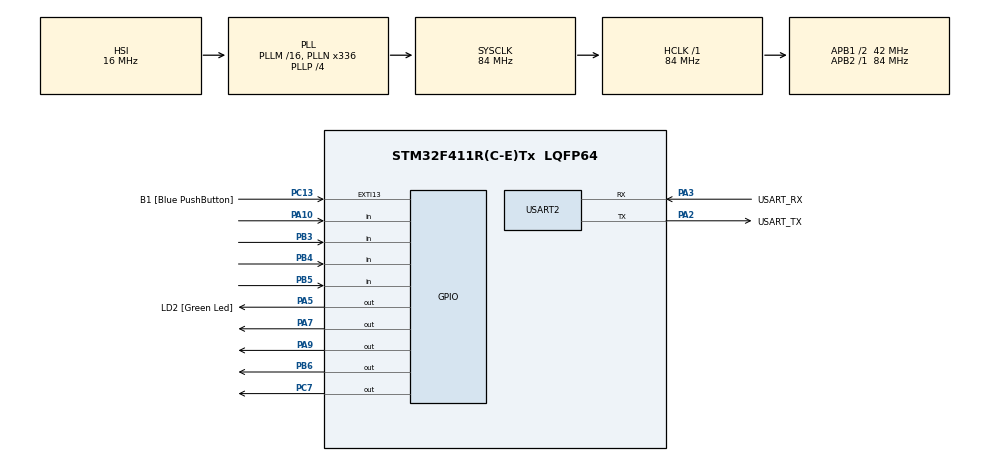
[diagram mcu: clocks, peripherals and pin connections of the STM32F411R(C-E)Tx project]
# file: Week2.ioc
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Mcu.Family=STM32F4
Mcu.Name=STM32F411R(C-E)Tx
Mcu.Package=LQFP64
NVIC.PriorityGroup=NVIC_PRIORITYGROUP_0
PA10.GPIO_PuPd=GPIO_PULLUP
PA10.Signal=GPIO_Input
PA13.GPIO_Label=TMS
PA13.Mode=Serial_Wire
PA13.Signal=SYS_JTMS-SWDIO
PA14.GPIO_Label=TCK
PA14.Mode=Serial_Wire
PA14.Signal=SYS_JTCK-SWCLK
PA2.GPIO_Label=USART_TX
PA2.Mode=Asynchronous
PA2.Signal=USART2_TX
PA3.GPIO_Label=USART_RX
PA3.Mode=Asynchronous
PA3.Signal=USART2_RX
PA5.GPIO_Label=LD2 [Green Led]
PA5.GPIO_ModeDefaultOutputPP=GPIO_MODE_OUTPUT_PP
PA5.PinState=GPIO_PIN_RESET
PA5.Signal=GPIO_Output
PA7.GPIO_ModeDefaultOutputPP=GPIO_MODE_OUTPUT_OD
PA7.PinState=GPIO_PIN_SET
PA7.Signal=GPIO_Output
PA9.GPIO_ModeDefaultOutputPP=GPIO_MODE_OUTPUT_OD
PA9.PinState=GPIO_PIN_SET
PA9.Signal=GPIO_Output
PB3.GPIO_PuPd=GPIO_PULLUP
PB3.Signal=GPIO_Input
PB4.GPIO_PuPd=GPIO_PULLUP
PB4.Signal=GPIO_Input
PB5.GPIO_PuPd=GPIO_PULLUP
PB5.Signal=GPIO_Input
PB6.GPIO_ModeDefaultOutputPP=GPIO_MODE_OUTPUT_OD
PB6.PinState=GPIO_PIN_SET
PB6.Signal=GPIO_Output
PC13-ANTI_TAMP.GPIO_Label=B1 [Blue PushButton]
PC13-ANTI_TAMP.GPIO_ModeDefaultEXTI=GPIO_MODE_IT_FALLING
PC13-ANTI_TAMP.Signal=GPXTI13
PC14-OSC32_IN.Mode=LSE-External-Oscillator
PC14-OSC32_IN.Signal=RCC_OSC32_IN
PC15-OSC32_OUT.Mode=LSE-External-Oscillator
PC15-OSC32_OUT.Signal=RCC_OSC32_OUT
PC7.GPIO_ModeDefaultOutputPP=GPIO_MODE_OUTPUT_OD
PC7.PinState=GPIO_PIN_SET
PC7.Signal=GPIO_Output
PH0\ -\ OSC_IN.Mode=HSE-External-Clock-Source
PH0\ -\ OSC_IN.Signal=RCC_OSC_IN
PH1\ -\ OSC_OUT.Mode=HSE-External-Clock-Source
PH1\ -\ OSC_OUT.Signal=RCC_OSC_OUT
ProjectManager.HeapSize=0x200
ProjectManager.StackSize=0x400
ProjectManager.TargetToolchain=STM32CubeIDE
RCC.48MHZClocksFreq_Value=84000000
RCC.AHBFreq_Value=84000000
RCC.APB1CLKDivider=RCC_HCLK_DIV2
RCC.APB1Freq_Value=42000000
RCC.APB1TimFreq_Value=84000000
RCC.APB2Freq_Value=84000000
RCC.APB2TimFreq_Value=84000000
RCC.CortexFreq_Value=84000000
RCC.FLatency-AdvancedSettings=FLASH_LATENCY_2
RCC.HCLKFreq_Value=84000000
RCC.HSE_VALUE=8000000
RCC.HSI_VALUE=16000000
RCC.PLLN=336
RCC.PLLP=RCC_PLLP_DIV4
RCC.SYSCLKFreq_VALUE=84000000
RCC.SYSCLKSource=RCC_SYSCLKSOURCE_PLLCLK
RCC.VCOOutputFreq_Value=336000000
USART2.VirtualMode=VM_ASYNC
board=NUCLEO-F411RE

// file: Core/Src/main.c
/* USER CODE BEGIN Header */
/**
 ******************************************************************************
 * @file           : main.c
 * @brief          : Main program body
 ******************************************************************************
 * @attention
 *
 * <h2><center>&copy; Copyright (c) 2021 STMicroelectronics.
 * All rights reserved.</center></h2>
 *
 * This software component is licensed by ST under BSD 3-Clause license,
 * the "License"; You may not use this file except in compliance with the
 * License. You may obtain a copy of the License at:
 *                        opensource.org/licenses/BSD-3-Clause
 *
 ******************************************************************************
 */
/* USER CODE END Header */
#include "main.h"

UART_HandleTypeDef huart2;

/* USER CODE BEGIN PV */
//save status of Button Matrix
uint16_t ButtonMatrixState = 0;
uint32_t num=0;
uint32_t TimeStampButton=0;
uint16_t save=0;

//Button TimeStamp
uint32_t ButtonMatrixTimestamp = 0;
/* USER CODE END PV */

void SystemClock_Config(void);
static void MX_GPIO_Init(void);
static void MX_USART2_UART_Init(void);
/* USER CODE BEGIN PFP */
//scan and update data of Button Matrix
void ButtonMatrixUpdate();
void test();
/* USER CODE END PFP */

int main(void)
{

  /* MCU Configuration--------------------------------------------------------*/

  /* Reset of all peripherals, Initializes the Flash interface and the Systick. */
  HAL_Init();

  /* Configure the system clock */
  SystemClock_Config();

  /* Initialize all configured peripherals */
  MX_GPIO_Init();
  MX_USART2_UART_Init();

  /* Infinite loop */
	while (1)
	{

    /* USER CODE BEGIN 3 */
		ButtonMatrixUpdate();

		if(HAL_GetTick()- TimeStampButton >=200)
		{
			TimeStampButton=HAL_GetTick();
			test();

		}
	}

  /* USER CODE END 3 */
}

void SystemClock_Config(void)
{
  RCC_OscInitTypeDef RCC_OscInitStruct = {0};
  RCC_ClkInitTypeDef RCC_ClkInitStruct = {0};

  /** Configure the main internal regulator output voltage
  */
  __HAL_RCC_PWR_CLK_ENABLE();
  __HAL_PWR_VOLTAGESCALING_CONFIG(PWR_REGULATOR_VOLTAGE_SCALE1);
  /** Initializes the RCC Oscillators according to the specified parameters
  * in the RCC_OscInitTypeDef structure.
  */
  RCC_OscInitStruct.OscillatorType = RCC_OSCILLATORTYPE_HSI;
  RCC_OscInitStruct.HSIState = RCC_HSI_ON;
  RCC_OscInitStruct.HSICalibrationValue = RCC_HSICALIBRATION_DEFAULT;
  RCC_OscInitStruct.PLL.PLLState = RCC_PLL_ON;
  RCC_OscInitStruct.PLL.PLLSource = RCC_PLLSOURCE_HSI;
  RCC_OscInitStruct.PLL.PLLM = 16;
  RCC_OscInitStruct.PLL.PLLN = 336;
  RCC_OscInitStruct.PLL.PLLP = RCC_PLLP_DIV4;
  RCC_OscInitStruct.PLL.PLLQ = 4;
  if (HAL_RCC_OscConfig(&RCC_OscInitStruct) != HAL_OK)
  {
    Error_Handler();
  }
  /** Initializes the CPU, AHB and APB buses clocks
  */
  RCC_ClkInitStruct.ClockType = RCC_CLOCKTYPE_HCLK|RCC_CLOCKTYPE_SYSCLK
                              |RCC_CLOCKTYPE_PCLK1|RCC_CLOCKTYPE_PCLK2;
  RCC_ClkInitStruct.SYSCLKSource = RCC_SYSCLKSOURCE_PLLCLK;
  RCC_ClkInitStruct.AHBCLKDivider = RCC_SYSCLK_DIV1;
  RCC_ClkInitStruct.APB1CLKDivider = RCC_HCLK_DIV2;
  RCC_ClkInitStruct.APB2CLKDivider = RCC_HCLK_DIV1;

  if (HAL_RCC_ClockConfig(&RCC_ClkInitStruct, FLASH_LATENCY_2) != HAL_OK)
  {
    Error_Handler();
  }
}

static void MX_USART2_UART_Init(void)
{

  huart2.Instance = USART2;
  huart2.Init.BaudRate = 115200;
  huart2.Init.WordLength = UART_WORDLENGTH_8B;
  huart2.Init.StopBits = UART_STOPBITS_1;
  huart2.Init.Parity = UART_PARITY_NONE;
  huart2.Init.Mode = UART_MODE_TX_RX;
  huart2.Init.HwFlowCtl = UART_HWCONTROL_NONE;
  huart2.Init.OverSampling = UART_OVERSAMPLING_16;
  if (HAL_UART_Init(&huart2) != HAL_OK)
  {
    Error_Handler();
  }

}

static void MX_GPIO_Init(void)
{
  GPIO_InitTypeDef GPIO_InitStruct = {0};

  /* GPIO Ports Clock Enable */
  __HAL_RCC_GPIOC_CLK_ENABLE();
  __HAL_RCC_GPIOH_CLK_ENABLE();
  __HAL_RCC_GPIOA_CLK_ENABLE();
  __HAL_RCC_GPIOB_CLK_ENABLE();

  /*Configure GPIO pin Output Level */
  HAL_GPIO_WritePin(LD2_GPIO_Port, LD2_Pin, GPIO_PIN_RESET);

  /*Configure GPIO pin Output Level */
  HAL_GPIO_WritePin(GPIOA, GPIO_PIN_7|GPIO_PIN_9, GPIO_PIN_SET);

  /*Configure GPIO pin Output Level */
  HAL_GPIO_WritePin(GPIOC, GPIO_PIN_7, GPIO_PIN_SET);

  /*Configure GPIO pin Output Level */
  HAL_GPIO_WritePin(GPIOB, GPIO_PIN_6, GPIO_PIN_SET);

  /*Configure GPIO pin : B1_Pin */
  GPIO_InitStruct.Pin = B1_Pin;
  GPIO_InitStruct.Mode = GPIO_MODE_IT_FALLING;
  GPIO_InitStruct.Pull = GPIO_NOPULL;
  HAL_GPIO_Init(B1_GPIO_Port, &GPIO_InitStruct);

  /*Configure GPIO pin : LD2_Pin */
  GPIO_InitStruct.Pin = LD2_Pin;
  GPIO_InitStruct.Mode = GPIO_MODE_OUTPUT_PP;
  GPIO_InitStruct.Pull = GPIO_NOPULL;
  GPIO_InitStruct.Speed = GPIO_SPEED_FREQ_LOW;
  HAL_GPIO_Init(LD2_GPIO_Port, &GPIO_InitStruct);

  /*Configure GPIO pins : PA7 PA9 */
  GPIO_InitStruct.Pin = GPIO_PIN_7|GPIO_PIN_9;
  GPIO_InitStruct.Mode = GPIO_MODE_OUTPUT_OD;
  GPIO_InitStruct.Pull = GPIO_NOPULL;
  GPIO_InitStruct.Speed = GPIO_SPEED_FREQ_LOW;
  HAL_GPIO_Init(GPIOA, &GPIO_InitStruct);

  /*Configure GPIO pin : PC7 */
  GPIO_InitStruct.Pin = GPIO_PIN_7;
  GPIO_InitStruct.Mode = GPIO_MODE_OUTPUT_OD;
  GPIO_InitStruct.Pull = GPIO_NOPULL;
  GPIO_InitStruct.Speed = GPIO_SPEED_FREQ_LOW;
  HAL_GPIO_Init(GPIOC, &GPIO_InitStruct);

  /*Configure GPIO pin : PA10 */
  GPIO_InitStruct.Pin = GPIO_PIN_10;
  GPIO_InitStruct.Mode = GPIO_MODE_INPUT;
  GPIO_InitStruct.Pull = GPIO_PULLUP;
  HAL_GPIO_Init(GPIOA, &GPIO_InitStruct);

  /*Configure GPIO pins : PB3 PB4 PB5 */
  GPIO_InitStruct.Pin = GPIO_PIN_3|GPIO_PIN_4|GPIO_PIN_5;
  GPIO_InitStruct.Mode = GPIO_MODE_INPUT;
  GPIO_InitStruct.Pull = GPIO_PULLUP;
  HAL_GPIO_Init(GPIOB, &GPIO_InitStruct);

  /*Configure GPIO pin : PB6 */
  GPIO_InitStruct.Pin = GPIO_PIN_6;
  GPIO_InitStruct.Mode = GPIO_MODE_OUTPUT_OD;
  GPIO_InitStruct.Pull = GPIO_NOPULL;
  GPIO_InitStruct.Speed = GPIO_SPEED_FREQ_LOW;
  HAL_GPIO_Init(GPIOB, &GPIO_InitStruct);

}

/* USER CODE BEGIN 4 */
//port/pin array , 0-3 input , 4-7 output
GPIO_TypeDef *ButtonMatrixPort[8] =
{ GPIOA, GPIOB, GPIOB, GPIOB, GPIOA, GPIOC, GPIOB, GPIOA };

uint16_t ButtonMatrixPin[8] =
{ GPIO_PIN_10, GPIO_PIN_3, GPIO_PIN_5, GPIO_PIN_4, GPIO_PIN_9, GPIO_PIN_7,
GPIO_PIN_6, GPIO_PIN_7 };

uint8_t ButtonMatrixRow = 0;  //What  R Now
void ButtonMatrixUpdate()
{
	if (HAL_GetTick() - ButtonMatrixTimestamp >= 100)
	{
		ButtonMatrixTimestamp = HAL_GetTick();
		int i;
		for (i = 0; i < 4; i += 1)
		{ //0-3
			GPIO_PinState PinState = HAL_GPIO_ReadPin(ButtonMatrixPort[i],
					ButtonMatrixPin[i]);
			if (PinState == GPIO_PIN_RESET) // Button Press
			{
				ButtonMatrixState |= (uint16_t) 1 << (i + ButtonMatrixRow * 4);
			}
			else
			{
				ButtonMatrixState &= ~((uint16_t) 1 << (i + ButtonMatrixRow * 4));
			}
		}
		uint8_t NowOutputPin = ButtonMatrixRow + 4;
		//SET Rn
		HAL_GPIO_WritePin(ButtonMatrixPort[NowOutputPin],
				ButtonMatrixPin[NowOutputPin], GPIO_PIN_SET);
		// update New Row
		ButtonMatrixRow = (ButtonMatrixRow + 1) % 4;

		uint8_t NextOutputPin = ButtonMatrixRow + 4;
		//Reset Rn+1
		HAL_GPIO_WritePin(ButtonMatrixPort[NextOutputPin],
				ButtonMatrixPin[NextOutputPin], GPIO_PIN_RESET);

	}
}
enum{ state0=0,state1,state2,state3,state4,
	state5,state6,state7,state8,state9,state10,state11,clear,ok,holdFail
};
void  test()
{
	if(ButtonMatrixState !=0 && save !=ButtonMatrixState)
	{
	switch(num)
			{
			case state0://start

				if(ButtonMatrixState==64)
				{

					num=state1;
					//printf("6");

				}
				else if (ButtonMatrixState==8)
				{
					num=state0;
				}
				else
				{
					num=holdFail;
				}
				break;
			case state1:

				if(ButtonMatrixState==512)
				{

					num=state2;
					//printf("2");

				}
				else if (ButtonMatrixState==8)
							{
								num=state0;
							}
				else
				{
					num=holdFail;
				}
				break;
			case state2:

				if(ButtonMatrixState==1024)
				{

					num=state3;

					//printf("3");
				}
				else if (ButtonMatrixState==8)
				{
					num=state0;
				}
				else
				{
					num=holdFail;
				}
				break;
			case state3:

				if(ButtonMatrixState==16)
				{
					num=state4;
					//printf("4");
				}
				else if (ButtonMatrixState==8)
				{
					num=state0;
				}
				else
				{
					num=holdFail;
				}
				break;
			case state4:

				if(ButtonMatrixState==4096)
				{
					num=state5;
				//	printf("0");
				}
				else if (ButtonMatrixState==8)
				{
					num=state0;
				}
				else
				{
					num=holdFail;
				}
				break;
			case state5:

				if(ButtonMatrixState==32)
				{
					num=state6;
					//printf("5");
				}
				else if (ButtonMatrixState==8)
				{
					num=clear;
				}
				else
				{
					num=holdFail;
				}
				break;
			case state6:

				if(ButtonMatrixState==4096)
				{
					num=state7;
					//printf("0");
				}
				else if (ButtonMatrixState==8)
				{
					num=state0;
				}
				else
				{
					num=holdFail;
				}
				break;
			case state7:

				if(ButtonMatrixState==4096)
				{
					num=state8;
					//printf("0");
				}
				else if (ButtonMatrixState==8)
							{
								num=state0;
							}
				else
				{
					num=holdFail;
				}
				break;
			case state8:

				if(ButtonMatrixState==4096)
				{
					num=state9;
					//printf("0");
				}
				else if (ButtonMatrixState==8)
							{
								num=state0;
							}
				else
				{
					num=holdFail;
				}
				break;
			case state9:

				if(ButtonMatrixState==512)
				{
					num=state10;
					//printf("2");
				}
				else if (ButtonMatrixState==8)
							{
								num=state0;
							}
				else
				{
					num=holdFail;
				}
				break;
			case state10:

				if(ButtonMatrixState==1)
				{
					num=state11;
					//printf("7");
				}
				else if (ButtonMatrixState==8)
							{
								num=state0;
							}
				else
				{
					num=holdFail;
				}
				break;
			case state11:

				if(ButtonMatrixState==32768)
				{	HAL_GPIO_WritePin(GPIOA, GPIO_PIN_5,GPIO_PIN_SET);
					num=ok;
					//printf("ok");
				}
				else
				{
					num=holdFail;
				}
				break;
			case ok:
				//printf("OK");

				if(ButtonMatrixState==8)
				{
					HAL_GPIO_WritePin(GPIOA, GPIO_PIN_5,GPIO_PIN_RESET);
					num=state0;
				}
				break;
//			case clear:
//				num=state0;
//				break;
			case holdFail:
				if (ButtonMatrixState==8)
					{
					num=state0;
					}
				else
				{
					num=holdFail;
				}
				break;

			}
	}
	save=ButtonMatrixState;

}
/* USER CODE END 4 */

void Error_Handler(void)
{
	__disable_irq();
	while (1)
	{
	}
}

/************************ (C) COPYRIGHT STMicroelectronics *****END OF FILE****/
